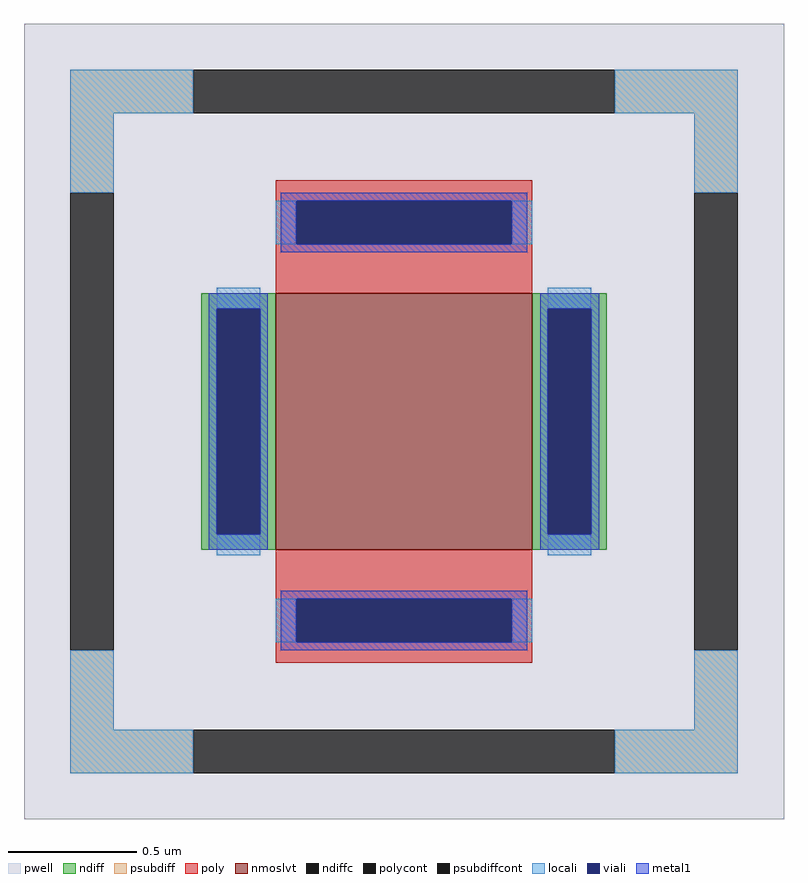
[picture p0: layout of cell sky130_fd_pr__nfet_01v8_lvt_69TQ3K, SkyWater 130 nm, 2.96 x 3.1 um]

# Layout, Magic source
magic
tech sky130A
<< pwell >>
rect -148 -155 148 155
<< nmoslvt >>
rect -50 -50 50 50
<< ndiff >>
rect -79 44 -50 50
rect -79 -44 -73 44
rect -56 -44 -50 44
rect -79 -50 -50 -44
rect 50 44 79 50
rect 50 -44 56 44
rect 73 -44 79 44
rect 50 -50 79 -44
<< ndiffc >>
rect -73 -44 -56 44
rect 56 -44 73 44
<< psubdiff >>
rect -130 120 -82 137
rect 82 120 130 137
rect -130 89 -113 120
rect 113 89 130 120
rect -130 -120 -113 -89
rect 113 -120 130 -89
rect -130 -137 -82 -120
rect 82 -137 130 -120
<< psubdiffcont >>
rect -82 120 82 137
rect -130 -89 -113 89
rect 113 -89 130 89
rect -82 -137 82 -120
<< poly >>
rect -50 86 50 94
rect -50 69 -42 86
rect 42 69 50 86
rect -50 50 50 69
rect -50 -69 50 -50
rect -50 -86 -42 -69
rect 42 -86 50 -69
rect -50 -94 50 -86
<< polycont >>
rect -42 69 42 86
rect -42 -86 42 -69
<< locali >>
rect -130 120 -82 137
rect 82 120 130 137
rect -130 89 -113 120
rect 113 89 130 120
rect -50 69 -42 86
rect 42 69 50 86
rect -73 44 -56 52
rect -73 -52 -56 -44
rect 56 44 73 52
rect 56 -52 73 -44
rect -50 -86 -42 -69
rect 42 -86 50 -69
rect -130 -120 -113 -89
rect 113 -120 130 -89
rect -130 -137 -82 -120
rect 82 -137 130 -120
<< viali >>
rect -42 69 42 86
rect -73 -44 -56 44
rect 56 -44 73 44
rect -42 -86 42 -69
<< metal1 >>
rect -48 86 48 89
rect -48 69 -42 86
rect 42 69 48 86
rect -48 66 48 69
rect -76 44 -53 50
rect -76 -44 -73 44
rect -56 -44 -53 44
rect -76 -50 -53 -44
rect 53 44 76 50
rect 53 -44 56 44
rect 73 -44 76 44
rect 53 -50 76 -44
rect -48 -69 48 -66
rect -48 -86 -42 -69
rect 42 -86 48 -69
rect -48 -89 48 -86
<< properties >>
string FIXED_BBOX -121 -128 121 128
string gencell sky130_fd_pr__nfet_01v8_lvt
string library sky130
string parameters w 1.0 l 1.0 m 1 nf 1 diffcov 100 polycov 100 guard 1 glc 1 grc 1 gtc 1 gbc 1 tbcov 100 rlcov 100 topc 1 botc 1 poverlap 0 doverlap 1 lmin 0.15 wmin 0.42 compatible {sky130_fd_pr__nfet_01v8 sky130_fd_pr__nfet_01v8_lvt  sky130_fd_bs_flash__special_sonosfet_star  sky130_fd_pr__nfet_g5v0d10v5 sky130_fd_pr__nfet_05v0_nvt  sky130_fd_pr__nfet_03v3_nvt} full_metal 1 viasrc 100 viadrn 100 viagate 100 viagb 0 viagr 0 viagl 0 viagt 0
<< end >>
